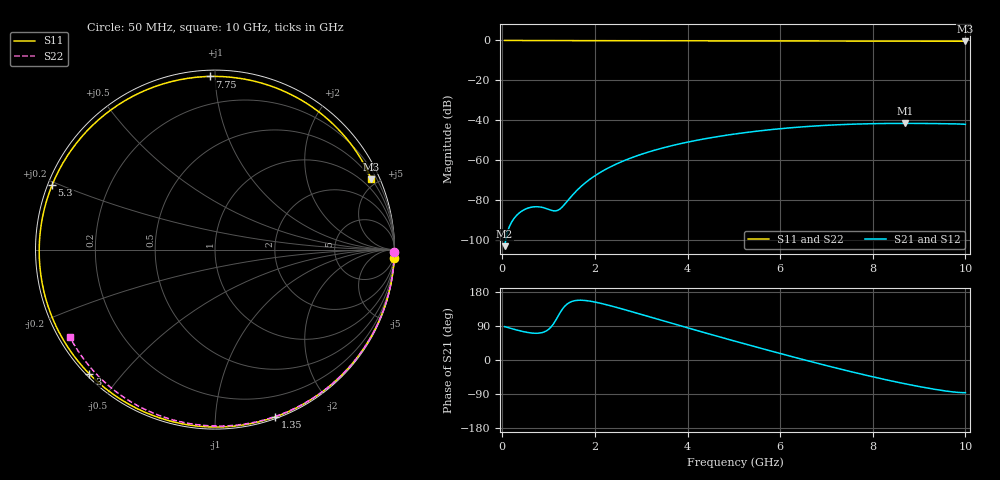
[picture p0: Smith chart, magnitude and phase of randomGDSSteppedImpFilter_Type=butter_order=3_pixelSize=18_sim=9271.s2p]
! freq	dB(S11)	phase(S11)	dB(S12)	phase(S12)
!  dB(S21)	phase(S21)	dB(S22)	phase(S22)
!S-par simulation data
#  GHz  S  DB  R 50
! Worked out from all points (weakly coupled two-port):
!   200 points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, 50 MHz to 10 GHz, reference 50 ohm
!   highest |S21| = -41.47 dB at 8.7 GHz (marker M1); lowest = -102.9 dB at 50 MHz (marker M2)
!   lowest |S11| = -0.4 dB at 10 GHz (marker M3), VSWR 43.87, Z = 25.7 + j231 ohm
!   |S11| at or under -10 dB: nowhere
!   |S22| runs from -0.5 to 0.0 dB; largest |S21 - S12| = 0
!   S11 on the Smith chart (normalised r, x): 50 MHz: 0, -41; 1.35 GHz: 0.01, -1.42; 3 GHz: 0.01, -0.41; 5.3 GHz: 0.01, +0.19; 7.75 GHz: 0.03, +0.97; 10 GHz: 0.51, +4.62
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0.05  -0.00 -2.8  -102.87 88.1  -102.87 88.1  -0.00 -0.9
0.4  -0.03 -22.0  -85.65 76.4  -85.65 76.4  -0.01 -6.9
0.75  -0.05 -40.6  -83.15 70.6  -83.15 70.6  -0.02 -12.9
1.05  -0.07 -55.9  -84.86 86.7  -84.86 86.7  -0.02 -18.0
1.35  -0.08 -70.4  -81.84 142.0  -81.84 142.0  -0.03 -23.1
1.45  -0.09 -75.0  -79.07 151.7  -79.07 151.7  -0.03 -24.8
1.75  -0.10 -88.3  -72.00 157.5  -72.00 157.5  -0.04 -29.8
2  -0.11 -98.7  -67.66 153.0  -67.66 153.0  -0.04 -34.0
2.3  -0.11 -110.5  -63.61 144.3  -63.61 144.3  -0.05 -38.9
3  -0.13 -135.2  -56.94 120.3  -56.94 120.3  -0.07 -50.2
3.4  -0.14 -148.1  -54.16 106.1  -54.16 106.1  -0.08 -56.6
4.2  -0.17 -171.6  -49.92 78.0  -49.92 78.0  -0.10 -69.0
5.05  -0.20 165.1  -46.68 48.8  -46.68 48.8  -0.13 -81.7
5.3  -0.21 158.4  -45.92 40.4  -45.92 40.4  -0.14 -85.3
6  -0.24 139.8  -44.13 17.2  -44.13 17.2  -0.17 -95.3
6.7  -0.27 121.0  -42.84 -5.3  -42.84 -5.3  -0.21 -105.0
7.25  -0.29 105.8  -42.15 -22.4  -42.15 -22.4  -0.24 -112.5
7.75  -0.31 91.7  -41.74 -37.2  -41.74 -37.2  -0.28 -119.2
8.35  -0.33 74.3  -41.50 -53.8  -41.50 -53.8  -0.33 -127.2
8.7  -0.34 63.9  -41.47 -62.8  -41.47 -62.8  -0.36 -131.8
9.4  -0.36 42.6  -41.58 -78.6  -41.58 -78.6  -0.43 -141.1
10  -0.40 24.2  -41.94 -86.1  -41.94 -86.1  -0.50 -149.0
